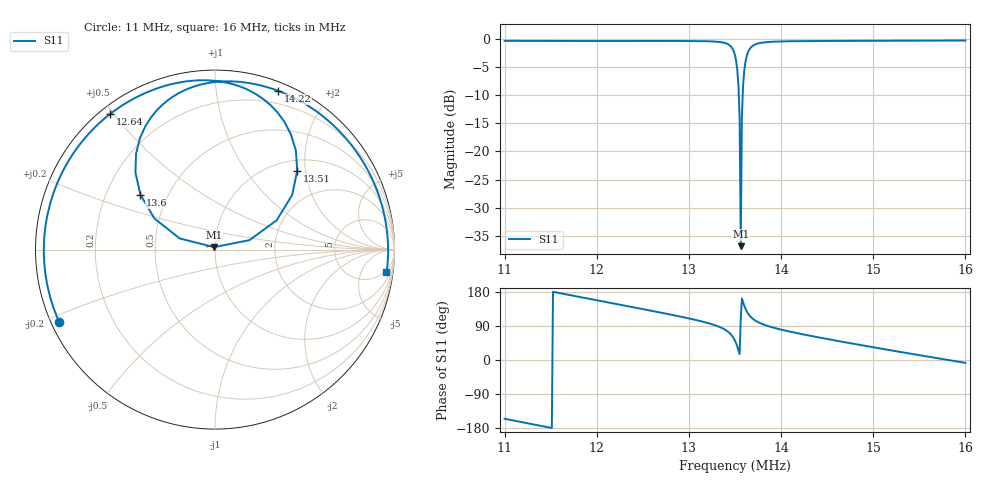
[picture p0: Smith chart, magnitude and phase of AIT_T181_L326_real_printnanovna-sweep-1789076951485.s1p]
! NanoVNA Web complex sweep
! Processing: original sample grid, no browser smoothing
# Hz S RI R 50
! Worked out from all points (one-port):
!   401 points, 11 MHz to 16 MHz, reference 50 ohm
!   lowest |S11| = -36.8 dB at 13.56 MHz (marker M1), VSWR 1.03, Z = 49.5 + j1.35 ohm
!   |S11| at or under -10 dB: 13.54112 MHz to 13.58377 MHz (42.65 kHz wide, 0.314 % of centre)
!   S11 on the Smith chart (normalised r, x): 11 MHz: 0.02, -0.22; 12.64 MHz: 0.03, +0.49; 13.51 MHz: 1.23, +1.81; 13.6 MHz: 0.35, +0.29; 14.22 MHz: 0.08, +1.47; 16 MHz: 4, -14
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1.1e7  -0.8685 -0.4025
1.1625e7  -0.9502 0.0792
1.225e7  -0.7912 0.5336
1.26375e7  -0.5854 0.7549
1.2875e7  -0.4218 0.8569
1.3175e7  -0.1585 0.9374
1.33625e7  0.0984 0.9218
1.345e7  0.31 0.8045
1.3475e7  0.3869 0.7117
1.35e7  0.4504 0.553
1.35125e7  0.4584 0.4395
1.3525e7  0.43 0.3045
1.35375e7  0.3444 0.1641
1.355e7  0.1925 0.0529
1.35625e7  -0.00479 0.0136
1.3575e7  -0.1966 0.0621
1.35875e7  -0.3375 0.1732
1.36e7  -0.4154 0.3056
1.3625e7  -0.4397 0.535
1.365e7  -0.3896 0.6843
1.36875e7  -0.2929 0.8072
1.3725e7  -0.2069 0.869
1.3875e7  0.0271 0.9362
1.4125e7  0.272 0.9104
1.4225e7  0.3515 0.8846
1.475e7  0.6843 0.6688
1.5375e7  0.9149 0.295
1.6e7  0.9551 -0.1275
